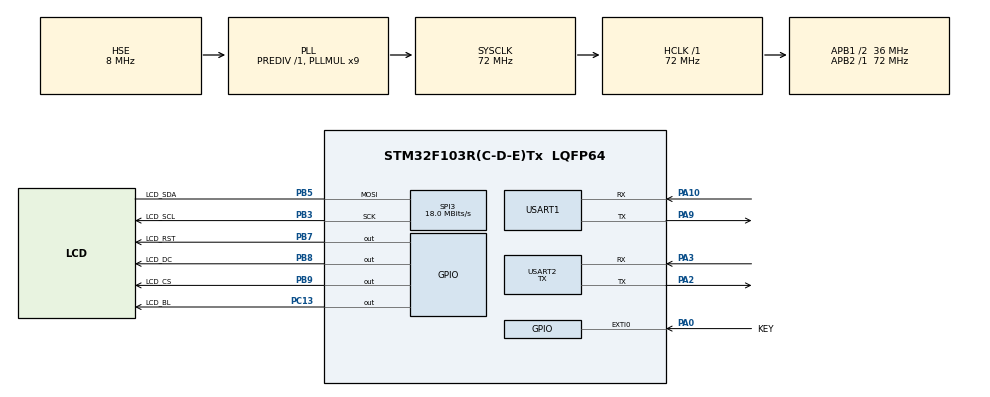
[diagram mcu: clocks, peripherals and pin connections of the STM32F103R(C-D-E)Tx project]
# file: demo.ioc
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Mcu.Family=STM32F1
Mcu.Name=STM32F103R(C-D-E)Tx
Mcu.Package=LQFP64
NVIC.EXTI0_IRQn=true\:0\:0\:false\:false\:true\:true\:true\:true
NVIC.PriorityGroup=NVIC_PRIORITYGROUP_4
NVIC.USART1_IRQn=true\:0\:0\:false\:false\:true\:true\:true\:true
PA0-WKUP.GPIO_Label=KEY
PA0-WKUP.GPIO_ModeDefaultEXTI=GPIO_MODE_IT_RISING
PA0-WKUP.GPIO_PuPd=GPIO_PULLDOWN
PA0-WKUP.Signal=GPXTI0
PA10.Mode=Asynchronous
PA10.Signal=USART1_RX
PA13.Mode=Serial_Wire
PA13.Signal=SYS_JTMS-SWDIO
PA14.Mode=Serial_Wire
PA14.Signal=SYS_JTCK-SWCLK
PA2.Mode=Asynchronous
PA2.Signal=USART2_TX
PA3.Mode=Asynchronous
PA3.Signal=USART2_RX
PA9.Mode=Asynchronous
PA9.Signal=USART1_TX
PB3.GPIO_Label=LCD_SCL
PB3.Mode=Simplex_Bidirectional_Master
PB3.Signal=SPI3_SCK
PB5.GPIO_Label=LCD_SDA
PB5.Mode=Simplex_Bidirectional_Master
PB5.Signal=SPI3_MOSI
PB7.GPIO_Label=LCD_RST
PB7.GPIO_Speed=GPIO_SPEED_FREQ_HIGH
PB7.Signal=GPIO_Output
PB8.GPIO_Label=LCD_DC
PB8.GPIO_Speed=GPIO_SPEED_FREQ_HIGH
PB8.Signal=GPIO_Output
PB9.GPIO_Label=LCD_CS
PB9.GPIO_Speed=GPIO_SPEED_FREQ_HIGH
PB9.Signal=GPIO_Output
PC13-TAMPER-RTC.GPIO_Label=LCD_BL
PC13-TAMPER-RTC.GPIO_PuPd=GPIO_PULLDOWN
PC13-TAMPER-RTC.GPIO_Speed=GPIO_SPEED_FREQ_HIGH
PC13-TAMPER-RTC.Signal=GPIO_Output
PD0-OSC_IN.Mode=HSE-External-Oscillator
PD0-OSC_IN.Signal=RCC_OSC_IN
PD1-OSC_OUT.Mode=HSE-External-Oscillator
PD1-OSC_OUT.Signal=RCC_OSC_OUT
ProjectManager.HeapSize=0x200
ProjectManager.StackSize=0x400
ProjectManager.TargetToolchain=MDK-ARM V5
RCC.AHBFreq_Value=72000000
RCC.APB1CLKDivider=RCC_HCLK_DIV2
RCC.APB1Freq_Value=36000000
RCC.APB1TimFreq_Value=72000000
RCC.APB2Freq_Value=72000000
RCC.APB2TimFreq_Value=72000000
RCC.HCLKFreq_Value=72000000
RCC.PLLMUL=RCC_PLL_MUL9
RCC.PLLSourceVirtual=RCC_PLLSOURCE_HSE
RCC.SYSCLKFreq_VALUE=72000000
RCC.SYSCLKSource=RCC_SYSCLKSOURCE_PLLCLK
RCC.USBFreq_Value=72000000
SPI3.CLKPolarity=SPI_POLARITY_HIGH
SPI3.CalculateBaudRate=18.0 MBits/s
SPI3.Direction=SPI_DIRECTION_1LINE
SPI3.Mode=SPI_MODE_MASTER
SPI3.VirtualType=VM_MASTER
USART1.VirtualMode=VM_ASYNC
USART2.Mode=MODE_TX
USART2.VirtualMode=VM_ASYNC
board=custom

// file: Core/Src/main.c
/* USER CODE BEGIN Header */
/**
 ******************************************************************************
 * @file           : main.c
 * @brief          : Main program body
 ******************************************************************************
 * @attention
 *
 * <h2><center>&copy; Copyright (c) 2022 STMicroelectronics.
 * All rights reserved.</center></h2>
 *
 * This software component is licensed by ST under BSD 3-Clause license,
 * the "License"; You may not use this file except in compliance with the
 * License. You may obtain a copy of the License at:
 *                        opensource.org/licenses/BSD-3-Clause
 *
 ******************************************************************************
 */
/* USER CODE END Header */
#include "main.h"
#include "spi.h"
#include "usart.h"
#include "gpio.h"

/* USER CODE BEGIN Includes */
#include <stdlib.h>
#include "st7789/images.h"
#include "st7789/st7789.h"
/* USER CODE END Includes */

void SystemClock_Config(void);

/* USER CODE BEGIN 0 */

void HAL_GPIO_EXTI_Callback(uint16_t GPIO_Pin)
{
    static uint8_t bl = 0;
    (bl = !bl) ? st7789_backlight_on() : st7789_backlight_off();
    printf("bl:%d\r\n", bl);
}
/* USER CODE END 0 */

int main(void)
{

    /* MCU Configuration--------------------------------------------------------*/

    /* Reset of all peripherals, Initializes the Flash interface and the Systick. */
    HAL_Init();

    /* Configure the system clock */
    SystemClock_Config();

    /* Initialize all configured peripherals */
    MX_GPIO_Init();
    MX_USART1_UART_Init();
    MX_USART2_UART_Init();
    MX_SPI3_Init();

    /* Infinite loop */
    /* USER CODE BEGIN WHILE */

    st7789_init();
    st7789_backlight_on();  // 开启背光（可配置PWM进行背光调节）

    uint16_t colors[] = {
        COLOR_RGB565_BLACK,
        COLOR_RGB565_WHITE,
        COLOR_RGB565_BLACK,
        COLOR_RGB565_BLUE,
        COLOR_RGB565_RED,
        COLOR_RGB565_MAGENTA,
        COLOR_RGB565_GREEN,
        COLOR_RGB565_CYAN,
        COLOR_RGB565_YELLOW,
        COLOR_RGB565_BROWN,
        COLOR_RGB565_BRRED,
        COLOR_RGB565_DARKBLUE,
        COLOR_RGB565_LIGHTBLUE,
        COLOR_RGB565_GRAYBLUE,
        COLOR_RGB565_LIGHTGREEN,
        COLOR_RGB565_LGRAY,
        COLOR_RGB565_LGRAYBLUE,
        COLOR_RGB565_LBBLUE,
    };

    uint8_t color_cnt = (sizeof(colors) / sizeof(colors[0]));

    uint8_t bInvert = 0;

    while (1) {
        for (uint8_t i = 0; i < color_cnt; ++i) {
            st7789_clear(colors[i]);  // 清屏
            HAL_Delay(300);
        }

        st7789_draw_string(0, 0, "hello, world", Font_7x10, COLOR_RGB565_RED, COLOR_RGB565_WHITE);    // 显示字符
        st7789_draw_string(0, 20, "hello, world", Font_11x18, COLOR_RGB565_RED, COLOR_RGB565_WHITE);  // 显示字符
        st7789_draw_string(0, 40, "hello, world", Font_16x26, COLOR_RGB565_RED, COLOR_RGB565_WHITE);  // 显示字符
        HAL_Delay(1000);

        int n = 50;
        while (--n) {
            st7789_fill_rect(
                rand() % ST7789_WIDTH,
                rand() % ST7789_HEIGHT,
                rand() % 40,
                rand() % 40,
                colors[rand() % color_cnt]);
            HAL_Delay(50);
        }
        HAL_Delay(1000);
        st7789_invert(bInvert = !bInvert);  // 反色
        HAL_Delay(2000);
        st7789_draw_image(20, 20, 128, 128, (uint16_t*)image_saber);  // 绘图
        HAL_Delay(1000);

        /* USER CODE END WHILE */

    }
}

void SystemClock_Config(void)
{
    RCC_OscInitTypeDef RCC_OscInitStruct = {0};
    RCC_ClkInitTypeDef RCC_ClkInitStruct = {0};

    /** Initializes the RCC Oscillators according to the specified parameters
     * in the RCC_OscInitTypeDef structure.
     */
    RCC_OscInitStruct.OscillatorType = RCC_OSCILLATORTYPE_HSE;
    RCC_OscInitStruct.HSEState       = RCC_HSE_ON;
    RCC_OscInitStruct.HSEPredivValue = RCC_HSE_PREDIV_DIV1;
    RCC_OscInitStruct.HSIState       = RCC_HSI_ON;
    RCC_OscInitStruct.PLL.PLLState   = RCC_PLL_ON;
    RCC_OscInitStruct.PLL.PLLSource  = RCC_PLLSOURCE_HSE;
    RCC_OscInitStruct.PLL.PLLMUL     = RCC_PLL_MUL9;
    if (HAL_RCC_OscConfig(&RCC_OscInitStruct) != HAL_OK) {
        Error_Handler();
    }

    /** Initializes the CPU, AHB and APB buses clocks
     */
    RCC_ClkInitStruct.ClockType      = RCC_CLOCKTYPE_HCLK | RCC_CLOCKTYPE_SYSCLK | RCC_CLOCKTYPE_PCLK1 | RCC_CLOCKTYPE_PCLK2;
    RCC_ClkInitStruct.SYSCLKSource   = RCC_SYSCLKSOURCE_PLLCLK;
    RCC_ClkInitStruct.AHBCLKDivider  = RCC_SYSCLK_DIV1;
    RCC_ClkInitStruct.APB1CLKDivider = RCC_HCLK_DIV2;
    RCC_ClkInitStruct.APB2CLKDivider = RCC_HCLK_DIV1;

    if (HAL_RCC_ClockConfig(&RCC_ClkInitStruct, FLASH_LATENCY_2) != HAL_OK) {
        Error_Handler();
    }
}

void Error_Handler(void)
{
}
